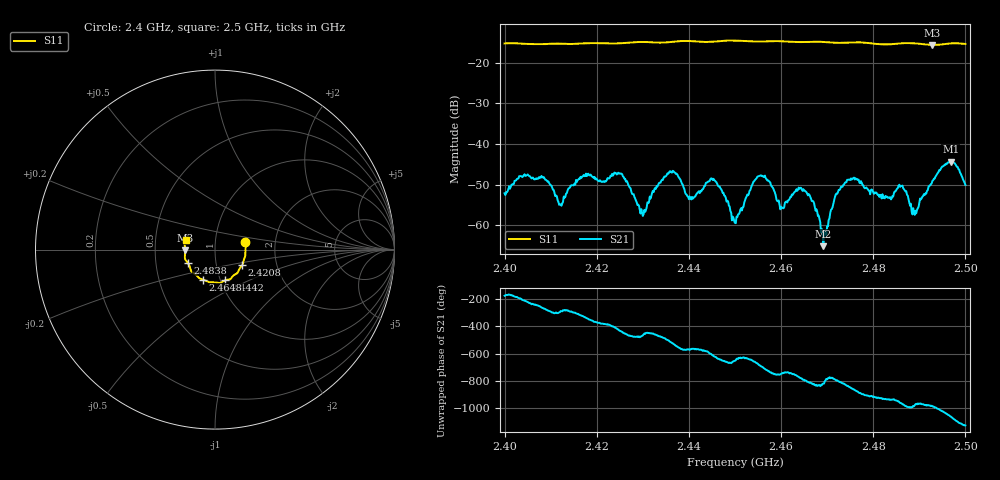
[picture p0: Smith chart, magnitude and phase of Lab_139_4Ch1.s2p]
# Hz S RI R 50
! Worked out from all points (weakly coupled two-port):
!   601 points, 2.4 GHz to 2.5 GHz, reference 50 ohm
!   highest |S21| = -44.32 dB at 2.4968 GHz (marker M1); lowest = -65.2 dB at 2.4692 GHz (marker M2)
!   lowest |S11| = -15.6 dB at 2.4928 GHz (marker M3), VSWR 1.40, Z = 35.8 - j0.353 ohm
!   |S11| at or under -10 dB: start of sweep to end of sweep
!   S12 and S22 are empty: the file has one direction only
!   S11 on the Smith chart (normalised r, x): 2.4 GHz: 1.40, +0.12; 2.4208 GHz: 1.33, -0.24; 2.4442 GHz: 1.05, -0.37; 2.4648 GHz: 0.83, -0.29; 2.4838 GHz: 0.73, -0.11; 2.5 GHz: 0.72, +0.08
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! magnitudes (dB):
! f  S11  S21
! 2.4 GHz  -15.2  -52.1
! 2.408 GHz  -15.4  -47.9
! 2.4122 GHz  -15.3  -54.9
! 2.4167 GHz  -15.2  -48.4
! 2.4208 GHz  -15.2  -49.1
! 2.4252 GHz  -15.2  -47.3
! 2.43 GHz  -14.9  -57.7
! 2.4333 GHz  -15.0  -50.1
! 2.4442 GHz  -14.9  -49.3
! 2.45 GHz  -14.5  -59.4
! 2.4552 GHz  -14.8  -47.9
! 2.4602 GHz  -14.7  -55.7
! 2.4648 GHz  -14.9  -51.1
! 2.4667 GHz  -14.8  -54.1
! 2.4692 GHz  -14.9  -65.2
! 2.4747 GHz  -15.0  -48.8
! 2.4833 GHz  -15.5  -53.2
! 2.4838 GHz  -15.4  -53.7
! 2.489 GHz  -15.2  -57.5
! 2.4928 GHz  -15.6  -49.1
! 2.4968 GHz  -15.2  -44.3
! 2.5 GHz  -15.4  -50.1
